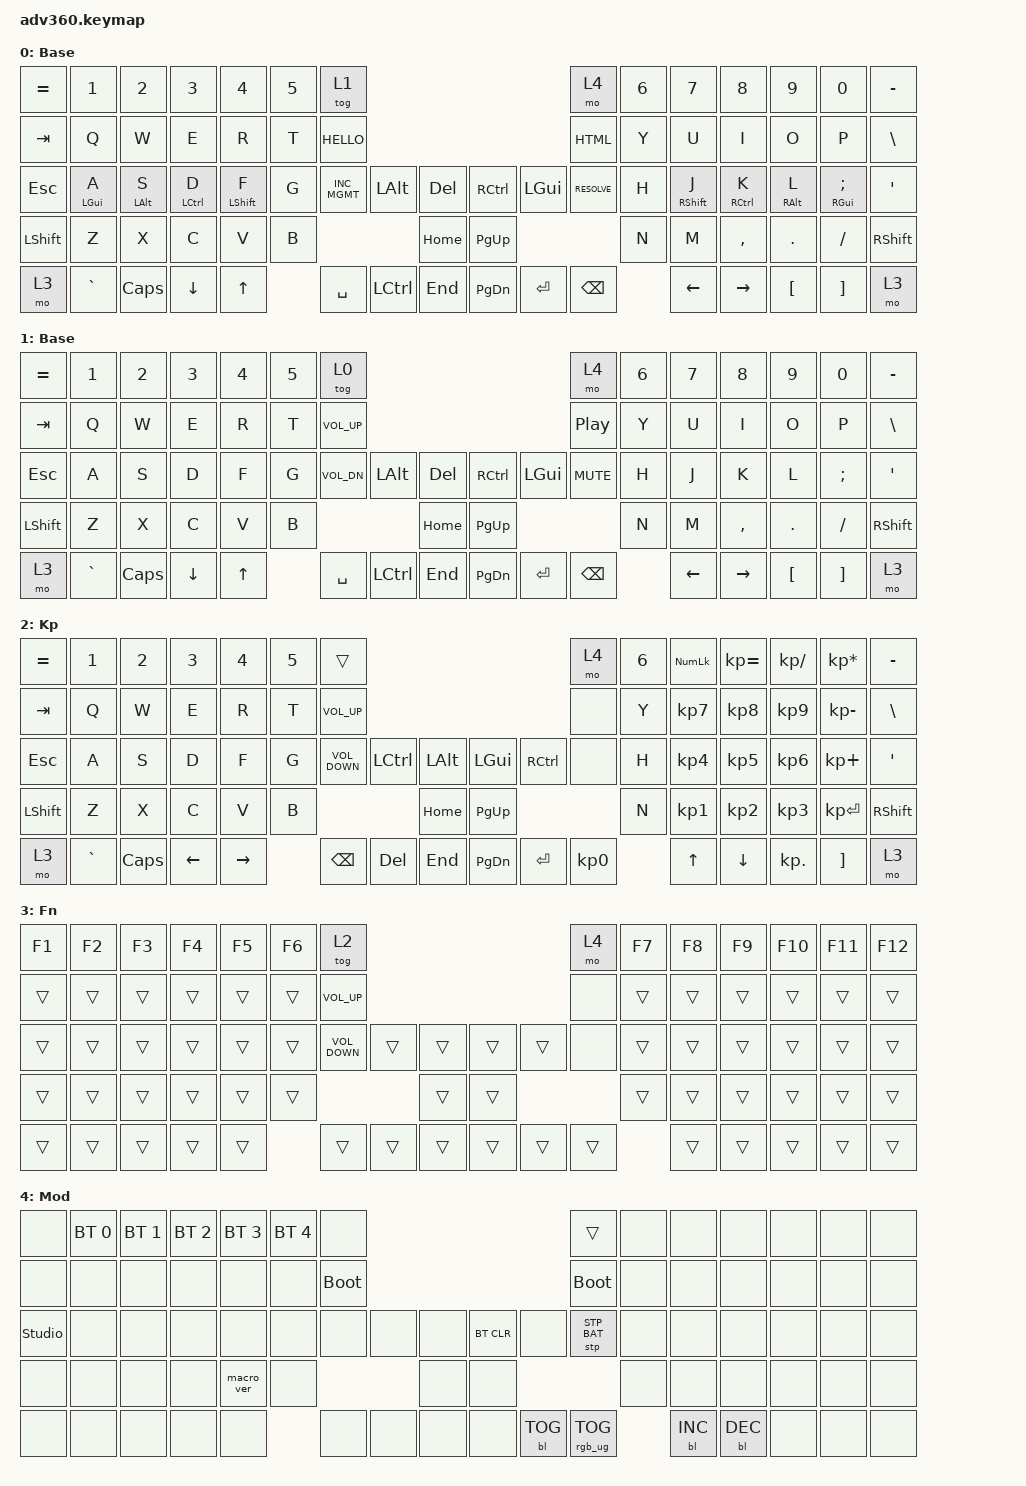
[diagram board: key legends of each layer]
#include <dt-bindings/zmk/stp.h>
#include <behaviors.dtsi>
#include <dt-bindings/zmk/backlight.h>
#include <dt-bindings/zmk/bt.h>
#include <dt-bindings/zmk/keys.h>
#include <dt-bindings/zmk/rgb.h>

/ {
    behaviors {
        #include "macros.dtsi"
      #include "version.dtsi"

        hm: homerow_mods {
            compatible = "zmk,behavior-hold-tap";
            label = "HOMEROW_MODS";
            #binding-cells = <2>;
            tapping-term-ms = <135>;
            quick_tap_ms = <125>;
            flavor = "tap-preferred";
            bindings = <&kp>, <&kp>;

            quick-tap-ms = <125>;
            require-prior-idle-ms = <125>;
        };
    };

    macros {
        HELLO: HELLO {
            compatible = "zmk,behavior-macro";
            #binding-cells = <0>;
            bindings = <&kp LC(EXCL)>;
            label = "HELLO";
        };

        INC_MGMT: INC_MGMT {
            compatible = "zmk,behavior-macro";
            #binding-cells = <0>;
            bindings = <&kp LC(AT)>;
            label = "INC_MGMT";
        };

        HTML: HTML {
            compatible = "zmk,behavior-macro";
            #binding-cells = <0>;
            bindings = <&kp LC(HASH)>;
            label = "HTML";
        };

        RESOLVE: RESOLVE {
            compatible = "zmk,behavior-macro";
            #binding-cells = <0>;
            bindings = <&kp LC(DLLR)>;
            label = "RESOLVE";
        };
    };

    keymap {
        compatible = "zmk,keymap";

        ePlus {
            display-name = "Base";
            bindings = <
&kp EQUAL  &kp N1          &kp N2          &kp N3              &kp N4            &kp N5  &tog 1                                                                     &mo 4          &kp N6  &kp N7             &kp N8               &kp N9           &kp N0                   &kp MINUS
&kp TAB    &kp Q           &kp W           &kp E               &kp R             &kp T   &HELLO                                                                     &HTML          &kp Y   &kp U              &kp I                &kp O            &kp P                    &kp BSLH
&kp ESC    &hm LEFT_GUI A  &hm LEFT_ALT S  &hm LEFT_CONTROL D  &hm LEFT_SHIFT F  &kp G   &INC_MGMT  &kp LEFT_ALT      &kp DELETE      &kp RIGHT_CONTROL  &kp LGUI   &RESOLVE       &kp H   &hm RIGHT_SHIFT J  &hm RIGHT_CONTROL K  &hm RIGHT_ALT L  &hm RIGHT_GUI SEMICOLON  &kp SQT
&kp LSHFT  &kp Z           &kp X           &kp C               &kp V             &kp B                                &kp HOME        &kp PG_UP                                    &kp N   &kp M              &kp COMMA            &kp DOT          &kp FSLH                 &kp RSHFT
&mo 3      &kp GRAVE       &kp CAPS        &kp DOWN            &kp UP                    &kp SPACE  &kp LEFT_CONTROL  &kp END         &kp PG_DN          &kp ENTER  &kp BACKSPACE          &kp LEFT           &kp RIGHT            &kp LBKT         &kp RBKT                 &mo 3
            >;
        };

        Endeavour-OS {
            display-name = "Base";
            bindings = <
&kp EQUAL  &kp N1     &kp N2    &kp N3    &kp N4  &kp N5  &tog 0                                                                           &mo 4             &kp N6  &kp N7    &kp N8     &kp N9    &kp N0    &kp MINUS
&kp TAB    &kp Q      &kp W     &kp E     &kp R   &kp T   &kp C_VOLUME_UP                                                                  &kp C_PLAY_PAUSE  &kp Y   &kp U     &kp I      &kp O     &kp P     &kp BSLH
&kp ESC    &kp A      &kp S     &kp D     &kp F   &kp G   &kp C_VOL_DN     &kp LEFT_ALT      &kp DELETE      &kp RIGHT_CONTROL  &kp LGUI   &kp K_MUTE        &kp H   &kp J     &kp K      &kp L     &kp SEMI  &kp SQT
&kp LSHFT  &kp Z      &kp X     &kp C     &kp V   &kp B                                      &kp HOME        &kp PG_UP                                       &kp N   &kp M     &kp COMMA  &kp DOT   &kp FSLH  &kp RSHFT
&mo 3      &kp GRAVE  &kp CAPS  &kp DOWN  &kp UP          &kp SPACE        &kp LEFT_CONTROL  &kp END         &kp PG_DN          &kp ENTER  &kp BACKSPACE             &kp LEFT  &kp RIGHT  &kp LBKT  &kp RBKT  &mo 3
            >;
        };

        keypad {
            display-name = "Kp";
            bindings = <
&kp EQUAL  &kp N1     &kp N2    &kp N3    &kp N4     &kp N5  &trans                                                            &mo 4      &kp N6  &kp KP_NUM  &kp KP_EQUAL  &kp KP_DIVIDE  &kp KP_MULTIPLY  &kp MINUS
&kp TAB    &kp Q      &kp W     &kp E     &kp R      &kp T   &kp C_VOLUME_UP                                                   &none      &kp Y   &kp KP_N7   &kp KP_N8     &kp KP_N9      &kp KP_MINUS     &kp BSLH
&kp ESC    &kp A      &kp S     &kp D     &kp F      &kp G   &kp C_VOLUME_DOWN  &kp LCTRL  &kp LALT      &kp LGUI   &kp RCTRL  &none      &kp H   &kp KP_N4   &kp KP_N5     &kp KP_N6      &kp KP_PLUS      &kp SQT
&kp LSHFT  &kp Z      &kp X     &kp C     &kp V      &kp B                                 &kp HOME      &kp PG_UP                        &kp N   &kp KP_N1   &kp KP_N2     &kp KP_N3      &kp KP_ENTER     &kp RSHFT
&mo 3      &kp GRAVE  &kp CAPS  &kp LEFT  &kp RIGHT          &kp BSPC           &kp DEL    &kp END       &kp PG_DN  &kp ENTER  &kp KP_N0          &kp UP      &kp DOWN      &kp KP_DOT     &kp RBKT         &mo 3
            >;
        };

        fn {
            display-name = "Fn";
            bindings = <
&kp F1  &kp F2  &kp F3  &kp F4  &kp F5  &kp F6  &tog 2                                                 &mo 4   &kp F7  &kp F8  &kp F9  &kp F10  &kp F11  &kp F12
&trans  &trans  &trans  &trans  &trans  &trans  &kp C_VOLUME_UP                                        &none   &trans  &trans  &trans  &trans   &trans   &trans
&trans  &trans  &trans  &trans  &trans  &trans  &kp C_VOLUME_DOWN  &trans  &trans      &trans  &trans  &none   &trans  &trans  &trans  &trans   &trans   &trans
&trans  &trans  &trans  &trans  &trans  &trans                             &trans      &trans                  &trans  &trans  &trans  &trans   &trans   &trans
&trans  &trans  &trans  &trans  &trans          &trans             &trans  &trans      &trans  &trans  &trans          &trans  &trans  &trans   &trans   &trans
            >;
        };

        mod {
            display-name = "Mod";
            bindings = <
&none           &bt BT_SEL 0  &bt BT_SEL 1  &bt BT_SEL 2  &bt BT_SEL 3  &bt BT_SEL 4  &none                                                  &trans           &none  &none       &none       &none  &none  &none
&none           &none         &none         &none         &none         &none         &bootloader                                            &bootloader      &none  &none       &none       &none  &none  &none
&studio_unlock  &none         &none         &none         &none         &none         &none        &none  &none      &bt BT_CLR  &none       &stp STP_BAT     &none  &none       &none       &none  &none  &none
&none           &none         &none         &none         &macro_ver    &none                             &none      &none                                    &none  &none       &none       &none  &none  &none
&none           &none         &none         &none         &none                       &none        &none  &none      &none       &bl BL_TOG  &rgb_ug RGB_TOG         &bl BL_INC  &bl BL_DEC  &none  &none  &none
            >;
        };

        extra1 {
            display-name = "Red";
            status = "reserved";
        };

        extra2 {
            display-name = "Purple";
            status = "reserved";
        };

        extra3 {
            display-name = "Cyan";
            status = "reserved";
        };

        extra4 {
            display-name = "Yellow";
            status = "reserved";
        };
    };
};
